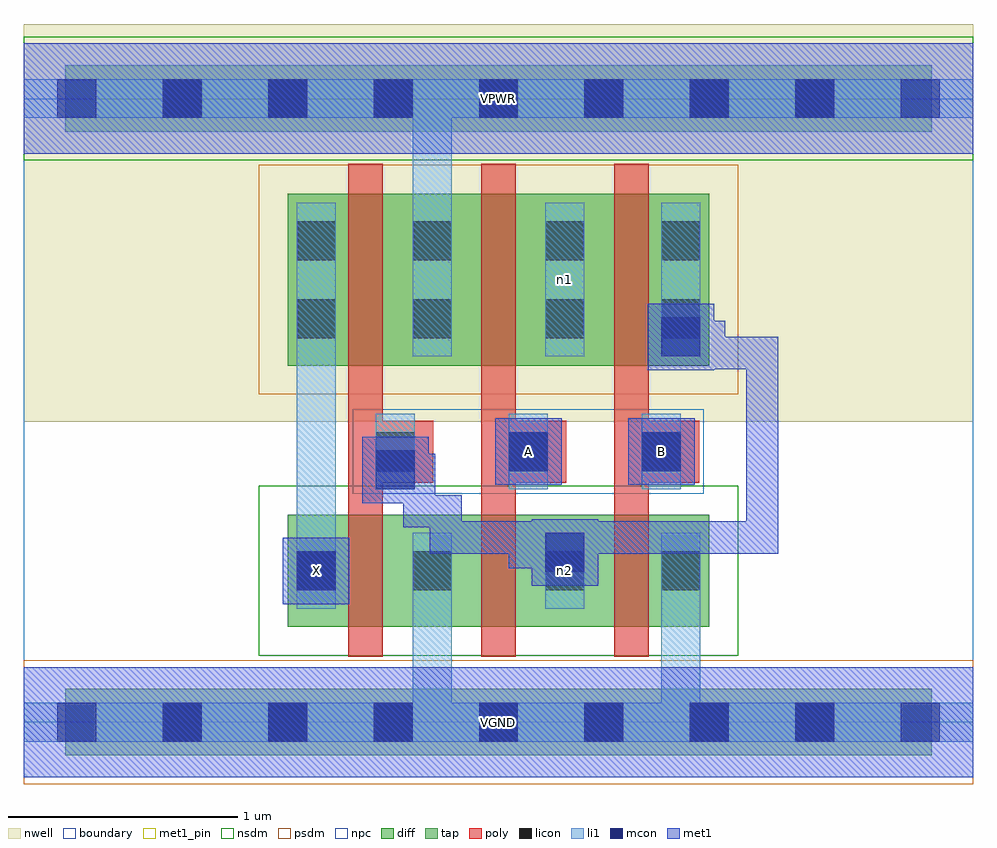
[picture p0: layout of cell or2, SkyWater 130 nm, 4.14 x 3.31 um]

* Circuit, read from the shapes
.subckt or2 A B VGND VPWR X n1 n2
XM1 VGND n2 X VGND sky130_fd_pr__nfet_01v8 w=0.49 l=0.15
XM2 n2 A VGND VGND sky130_fd_pr__nfet_01v8 w=0.49 l=0.15
XM3 VGND B n2 VGND sky130_fd_pr__nfet_01v8 w=0.49 l=0.15
XM4 VPWR n2 X VPWR sky130_fd_pr__pfet_01v8 w=0.75 l=0.15
XM5 n1 A VPWR VPWR sky130_fd_pr__pfet_01v8 w=0.75 l=0.15
XM6 n2 B n1 VPWR sky130_fd_pr__pfet_01v8 w=0.75 l=0.15
.ends

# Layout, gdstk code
import gdstk
lib = gdstk.Library(unit=1e-6, precision=1e-09)
def R(c, l, rs):  # rectangles x0, y0, x1, y1
    for r in rs: c.add(gdstk.rectangle(r[:2], r[2:], *l))
def A(c, l, x, y, w, h, nx, ny, dx, dy):  # array of equal rectangles
    R(c, l, [(x+i*dx, y+j*dy, x+i*dx+w, y+j*dy+h) for i in range(nx) for j in range(ny)])
nwell = (64, 20)
diff = (65, 20)
tap = (65, 44)
poly = (66, 20)
licon = (66, 44)
li1 = (67, 20)
mcon = (67, 44)
met1_pin = (68, 16)
met1 = (68, 20)
nsdm = (93, 44)
psdm = (94, 20)
npc = (95, 20)
boundary = (235, 4)

or2 = lib.new_cell('or2')
R(or2, nwell, [(0,1.31,4.14,3.045)])
R(or2, diff, [(1.15,0.415,2.99,0.905), (1.15,1.555,2.99,2.305)])
R(or2, tap, [(0.18,-0.145,3.96,0.145), (0.18,2.575,3.96,2.865)])
A(or2, poly, 1.415, 0.285, 0.15, 2.15, 3, 1, 0.58, 0)
A(or2, poly, 1.455, 1.045, 0.33, 0.27, 3, 1, 0.58, 0)
A(or2, licon, 0.605, -0.085, 0.17, 0.17, 7, 2, 0.46, 2.72)
A(or2, licon, 1.535, 1.095, 0.17, 0.17, 3, 1, 0.58, 0)
R(or2, licon, [(1.19,0.575,1.36,0.745), (1.695,0.575,1.865,0.745), (2.275,0.575,2.445,0.745), (2.78,0.575,2.95,0.745), (1.19,1.675,1.36,1.845), (1.695,1.675,1.865,1.845), (2.275,1.675,2.445,1.845), (2.78,1.675,2.95,1.845), (1.19,2.015,1.36,2.185), (1.695,2.015,1.865,2.185), (2.275,2.015,2.445,2.185), (2.78,2.015,2.95,2.185)])
A(or2, li1, 1.535, 1.015, 0.17, 0.33, 3, 1, 0.58, 0)
R(or2, li1, [(0,-0.085,4.14,0.085), (1.695,-0.085,1.865,0.825), (2.78,-0.085,2.95,0.825), (1.19,0.495,1.36,0.825), (1.19,0.495,1.36,2.265), (1.695,0.495,1.865,0.825), (2.275,0.495,2.445,0.825), (2.78,0.495,2.95,0.825), (1.19,1.595,1.36,2.265), (1.695,1.595,1.865,2.265), (1.695,1.595,1.865,2.805), (2.275,1.595,2.445,2.265), (2.78,1.595,2.95,2.265), (0,2.635,4.14,2.805)])
A(or2, mcon, 0.145, -0.085, 0.17, 0.17, 9, 2, 0.46, 2.72)
R(or2, mcon, [(1.19,0.575,1.36,0.745), (2.275,0.655,2.445,0.825), (1.535,1.015,1.705,1.185), (2.115,1.095,2.285,1.265), (2.695,1.095,2.865,1.265), (2.78,1.595,2.95,1.765)])
R(or2, met1_pin, [(0,-0.24,4.14,0.24), (1.13,0.515,1.42,0.805), (2.055,1.035,2.345,1.325), (2.635,1.035,2.925,1.325), (0,2.48,4.14,2.96)])
R(or2, met1, [(0,-0.24,4.14,0.24), (1.13,0.515,1.42,0.805), (2.215,0.595,2.505,0.885), (2.115,0.67,2.43,0.81), (2.115,0.67,2.255,0.875), (1.77,0.735,1.91,0.99), (1.77,0.735,2.255,0.875), (2.115,0.735,3.29,0.875), (3.15,0.735,3.29,1.68), (1.655,0.85,1.795,1.17), (1.655,0.85,1.91,0.99), (1.475,0.955,1.765,1.245), (1.55,1.03,1.795,1.17), (2.055,1.035,2.345,1.325), (2.635,1.035,2.925,1.325), (2.72,1.535,3.01,1.825), (2.92,1.54,3.06,1.75), (2.92,1.54,3.29,1.68), (2.795,1.61,3.06,1.75), (0,2.48,4.14,2.96)])
R(or2, nsdm, [(1.025,0.29,3.115,1.03), (0,2.45,4.14,2.99)])
R(or2, psdm, [(0,-0.27,4.14,0.27), (1.025,1.43,3.115,2.43)])
R(or2, npc, [(1.435,0.995,2.965,1.365)])
R(or2, boundary, [(0,0,4.14,2.72)])
or2.add(gdstk.Label('n2', (2.36,0.66), layer=67, texttype=5))
or2.add(gdstk.Label('n1', (2.36,1.93), layer=67, texttype=5))
or2.add(gdstk.Label('A', (2.2,1.18), layer=68, texttype=5))
or2.add(gdstk.Label('B', (2.78,1.18), layer=68, texttype=5))
or2.add(gdstk.Label('X', (1.275,0.66), layer=68, texttype=5))
or2.add(gdstk.Label('VPWR', (2.07,2.72), layer=68, texttype=5))
or2.add(gdstk.Label('VGND', (2.07,0), layer=68, texttype=5))
or2.add(gdstk.Label('A', (2.2,1.18), layer=68, texttype=16))
or2.add(gdstk.Label('B', (2.78,1.18), layer=68, texttype=16))
or2.add(gdstk.Label('X', (1.275,0.66), layer=68, texttype=16))
or2.add(gdstk.Label('VPWR', (2.07,2.72), layer=68, texttype=16))
or2.add(gdstk.Label('VGND', (2.07,0), layer=68, texttype=16))

lib.write_gds('or2.gds')
